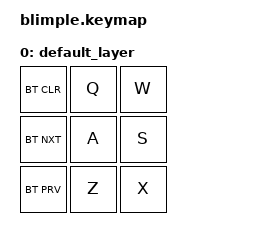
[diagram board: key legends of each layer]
#include <behaviors.dtsi>
#include <dt-bindings/zmk/keys.h>
#include <dt-bindings/zmk/bt.h>

/ {
    keymap {
        compatible = "zmk,keymap";

        default_layer {
// ------------------------------
// |   ESC   |    Q    |    W    
// |   TAB   |    A    |    S    
// |  SHIFT  |    Z    |    X    
//                               
            bindings = <
    &bt BT_CLR   &kp Q     &kp W  
    &bt BT_NXT   &kp A     &kp S  
    &bt BT_PRV   &kp Z     &kp X  
            >;
        };
    };
};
